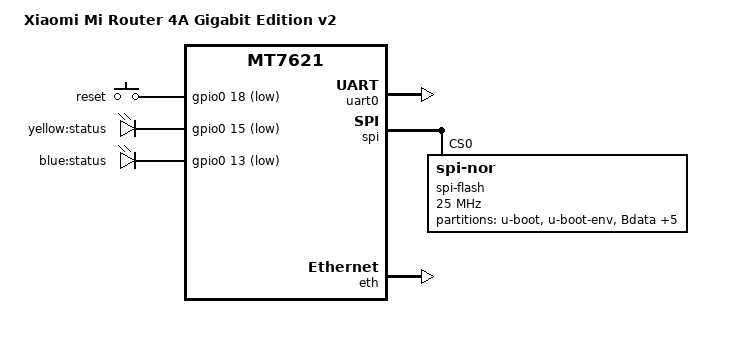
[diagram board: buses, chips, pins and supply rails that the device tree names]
// SPDX-License-Identifier: GPL-2.0
/*
 * Xiaomi Mi Router 4A Gigabit Edition v2 with the SPI-NOR replaced by a
 * bigger one (32 / 64 MB): Xiaomi's layout, "firmware" to the end
 */

/dts-v1/;

#include "mt7621.dtsi"
#include <dt-bindings/gpio/gpio.h>
#include <dt-bindings/input/input.h>

/ {
	compatible = "xiaomi,mi-router-4a-gigabit-v2", "mediatek,mt7621-soc";
	model = "Xiaomi Mi Router 4A Gigabit Edition v2";

	aliases {
		ethernet0 = &eth;
		serial0 = &uart0;
		spi0 = &spi;
	};

	chosen {
		stdout-path = &uart0;
	};

	keys {
		compatible = "gpio-keys";

		reset {
			label = "reset";
			gpios = <&gpio0 18 GPIO_ACTIVE_LOW>;
			linux,code = <KEY_RESTART>;
		};
	};

	leds {
		compatible = "gpio-leds";

		led_status: status {
			label = "yellow:status";
			gpios = <&gpio0 15 GPIO_ACTIVE_LOW>;
			default-state = "on";
		};

		blue_status {
			label = "blue:status";
			gpios = <&gpio0 13 GPIO_ACTIVE_LOW>;
		};
	};
};

&pinctrl {
	state_default: pin_state {
		/* the reset button is on GPIO 18, the pin of "wdt" */
		gpios {
			groups = "i2c", "uart3", "pcie reset", "wdt";
			function = "gpio";
		};

		jtag {
			groups = "jtag";
			function = "jtag";
		};
	};
};

&uart0 {
	status = "okay";
};

&gpio {
	status = "okay";
};

&spi {
	status = "okay";
	num-cs = <2>;

	spi-flash@0 {
		#address-cells = <1>;
		#size-cells = <1>;
		compatible = "jedec,spi-nor";
		spi-max-frequency = <25000000>;
		reg = <0>;

		partitions {
			compatible = "fixed-partitions";
			#address-cells = <1>;
			#size-cells = <1>;

			partition@0 {
				label = "u-boot";
				reg = <0x0 0x30000>;
			};

			partition@30000 {
				label = "u-boot-env";
				reg = <0x30000 0x10000>;
			};

			partition@40000 {
				label = "Bdata";
				reg = <0x40000 0x10000>;
			};

			factory: partition@50000 {
				label = "factory";
				reg = <0x50000 0x10000>;
				read-only;
			};

			partition@60000 {
				label = "crash";
				reg = <0x60000 0x10000>;
			};

			partition@70000 {
				label = "cfg_bak";
				reg = <0x70000 0x10000>;
			};

			partition@80000 {
				label = "overlay";
				reg = <0x80000 0x100000>;
			};

			/* the size: what the flash has (U-Boot cuts it there) */
			firmware: partition@180000 {
				label = "firmware";
				reg = <0x180000 0x3e80000>;
			};
		};
	};
};

&eth {
	status = "okay";
};
